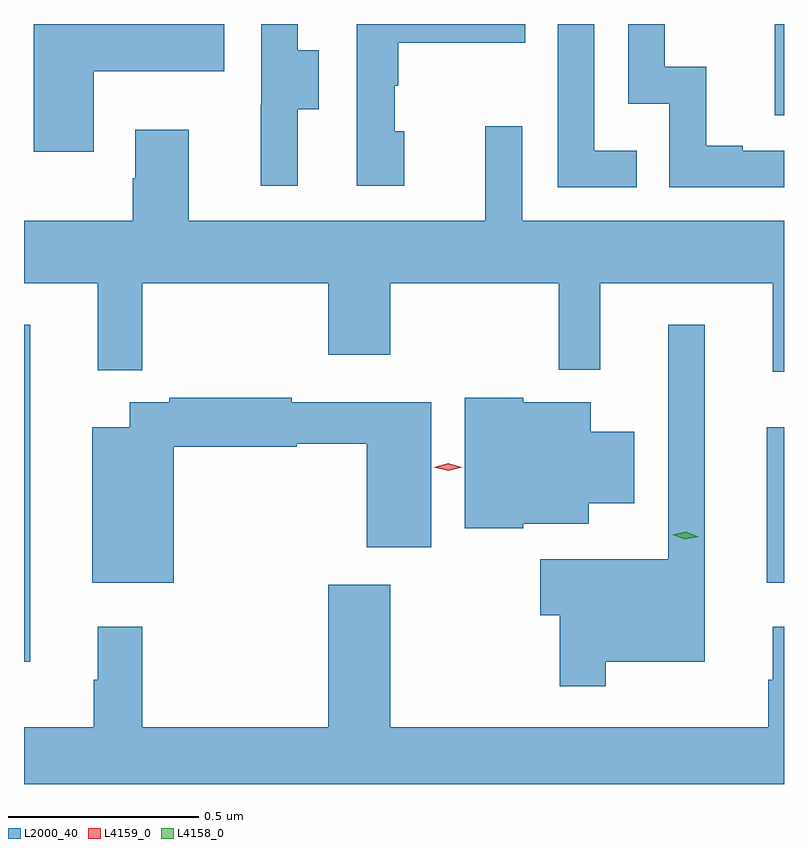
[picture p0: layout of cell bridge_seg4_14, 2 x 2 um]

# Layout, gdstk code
import gdstk
lib = gdstk.Library(unit=1e-6, precision=1e-09)
def R(c, l, rs):  # rectangles x0, y0, x1, y1
    for r in rs: c.add(gdstk.rectangle(r[:2], r[2:], *l))
def P(c, l, *ps):  # polygons
    for p in ps: c.add(gdstk.Polygon(p, *l))
L2000_40 = (2000, 40)
L4158_0 = (4158, 0)
L4159_0 = (4159, 0)

bridge_seg4_14 = lib.new_cell('bridge_seg4_14')
R(bridge_seg4_14, L2000_40, [(1027.344,754.532,1027.36,755.419), (1029.299,754.739,1029.344,755.149), (1029.319,755.97,1029.344,756.21)])
P(bridge_seg4_14, L2000_40, [(1027.528,756.086),(1027.871,756.086),(1027.871,756.21),(1027.37,756.21),(1027.37,755.874),(1027.528,755.874)],
  [(1029.344,755.877),(1029.235,755.877),(1029.235,755.89),(1029.14,755.89),(1029.14,756.098),(1029.03,756.098),(1029.03,756.21),(1028.934,756.21),(1028.934,756),(1029.042,756),(1029.042,755.781),(1029.344,755.781)],
  [(1028.344,755.928),(1028.319,755.928),(1028.319,756.047),(1028.329,756.047),(1028.329,756.161),(1028.663,756.161),(1028.663,756.21),(1028.22,756.21),(1028.22,755.784),(1028.344,755.784)],
  [(1028.065,755.986),(1028.119,755.986),(1028.119,756.141),(1028.064,756.141),(1028.064,756.21),(1027.968,756.21),(1027.968,755.997),(1027.967,755.997),(1027.967,755.784),(1028.065,755.784)],
  [(1028.957,755.877),(1028.844,755.877),(1028.844,756.21),(1028.748,756.21),(1028.748,755.781),(1028.957,755.781)],
  [(1029.344,755.692),(1028.655,755.692),(1028.655,755.941),(1028.558,755.941),(1028.558,755.692),(1027.777,755.692),(1027.777,755.932),(1027.637,755.932),(1027.637,755.804),(1027.63,755.804),(1027.63,755.692),(1027.344,755.692),(1027.344,755.528),(1027.538,755.528),(1027.538,755.299),(1027.655,755.299),(1027.655,755.528),(1028.144,755.528),(1028.144,755.34),(1028.308,755.34),(1028.308,755.528),(1028.751,755.528),(1028.751,755.3),(1028.861,755.3),(1028.861,755.528),(1029.314,755.528),(1029.314,755.295),(1029.344,755.295)],
  [(1028.875,754.532),(1029.136,754.532),(1029.136,755.419),(1029.039,755.419),(1029.039,754.801),(1028.702,754.801),(1028.702,754.654),(1028.754,754.654),(1028.754,754.467),(1028.875,754.467)],
  [(1028.658,754.895),(1028.83,754.895),(1028.83,754.949),(1028.95,754.949),(1028.95,755.137),(1028.836,755.137),(1028.836,755.215),(1028.658,755.215),(1028.658,755.227),(1028.504,755.227),(1028.504,754.883),(1028.658,754.883)],
  [(1027.738,755.098),(1028.062,755.098),(1028.062,755.106),(1028.246,755.106),(1028.246,754.833),(1028.416,754.833),(1028.416,755.214),(1028.048,755.214),(1028.048,755.227),(1027.726,755.227),(1027.726,755.214),(1027.622,755.214),(1027.622,755.149),(1027.523,755.149),(1027.523,754.739),(1027.738,754.739)],
  [(1029.344,754.624),(1029.314,754.624),(1029.314,754.484),(1029.303,754.484),(1029.303,754.36),(1028.308,754.36),(1028.308,754.735),(1028.144,754.735),(1028.144,754.36),(1027.655,754.36),(1027.655,754.624),(1027.538,754.624),(1027.538,754.484),(1027.527,754.484),(1027.527,754.36),(1027.344,754.36),(1027.344,754.21),(1029.344,754.21)])
P(bridge_seg4_14, L4158_0, [(1029.084,754.854),(1029.05,754.866),(1029.049,754.866),(1029.05,754.866),(1029.085,754.874),(1029.12,754.861),(1029.12,754.861),(1029.12,754.861)])
P(bridge_seg4_14, L4159_0, [(1028.46,755.034),(1028.422,755.044),(1028.421,755.044),(1028.422,755.044),(1028.46,755.054),(1028.497,755.044),(1028.498,755.044),(1028.497,755.044)])

lib.write_gds('bridge_seg4_14.gds')
